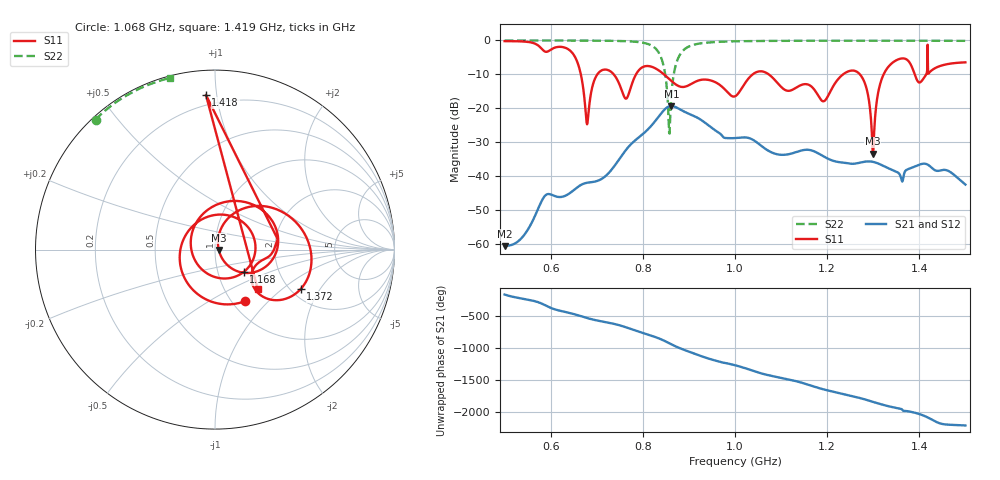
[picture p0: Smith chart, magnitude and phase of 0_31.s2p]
! TOUCHSTONE file generated by CST MICROWAVE STUDIO
! Date and time: Sat Oct 24 10:47:02 2020
! Project name: Scenario_1_Planar_Body_Tissue_Center.cst
! Parameters = {hfat=3; hmuscle=50; hskin=1.5; hgap=25; Wtissue=700; Ltissue=700; L_HA=400; MT=2.54; Rad_Dielectric=30; Rad_Lower=7.3; Rad_Upper=30; a_HA=580; a_WG=246; b_HA=500; b_WG=121; c_HA=0; c_WG=187; d_feed=85; dx1=692.6; h_feed=15; h_lower=18; h_upper=40}
! Header version: 2018
! Port assignment regex: !\s*Touchstone port\s*([0-9]+)\s*=\s*(CST MWS port|CST DS port)\s*([0-9]+|Zmin|Zmax)\s*\(\"(.*)\"\)(\s*mode\s*([0-9]+))?.*
! Touchstone port assignment:
! Touchstone port 1 = CST MWS port 1 ("")
! Touchstone port 2 = CST MWS port 2 ("")
# GHz S DB R 50
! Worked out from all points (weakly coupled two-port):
!   1003 points, 500 MHz to 1.5 GHz, reference 50 ohm
!   highest |S21| = -19.35 dB at 862 MHz (marker M1); lowest = -60.7 dB at 500 MHz (marker M2)
!   lowest |S11| = -33.4 dB at 1.299 GHz (marker M3), VSWR 1.04, Z = 52.2 - j0.254 ohm
!   |S11| at or under -10 dB: 845.6 MHz to 1.039 GHz (192.9 MHz wide, 20.5 % of centre); 1.073 GHz to 1.235 GHz (161.7 MHz wide, 14 % of centre); 1.271 GHz to 1.323 GHz (51.66 MHz wide, 3.98 % of centre)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
!   |S22| runs from -27.5 to 0.0 dB; largest |S21 - S12| = 4.7e-05
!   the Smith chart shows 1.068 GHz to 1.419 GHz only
!   S11 on the Smith chart (normalised r, x): 1.068 GHz: 1.14, -0.74; 1.168 GHz: 1.33, -0.35; 1.372 GHz: 2.26, -1.37; 1.418 GHz: 0.14, +0.93; 1.419 GHz: 1.42, -0.69
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0.5  -0.21 -121.5  -60.73 -169.6  -60.73 -169.6  -0.01 151.1
0.622  -1.89 173.2  -46.21 -65.3  -46.21 -65.3  -0.03 142.4
0.667  -11.07 96.3  -42.55 -149.6  -42.55 -149.6  -0.04 138.4
0.679  -24.77 146.0  -42.01 -175.6  -42.01 -175.6  -0.05 137.2
0.709  -8.96 161.6  -40.99 134.4  -40.99 134.4  -0.08 133.7
0.777  -12.58 -119.9  -30.27 6.8  -30.27 6.8  -0.32 121.1
0.834  -8.80 58.8  -22.55 -130.8  -22.55 -130.8  -3.47 83.2
0.862  -11.97 -29.4  -19.35 134.4  -19.35 134.4  -15.98 -132.3
0.889  -13.72 -138.6  -20.97 49.8  -20.97 49.8  -2.78 177.3
0.95  -11.92 5.4  -25.87 -103.6  -25.87 -103.6  -0.54 148.8
1  -16.49 177.8  -28.82 168.8  -28.82 168.8  -0.25 140.1
1.068  -9.57 -60.0  -32.19 21.0  -32.19 21.0  -0.15 132.6
1.128  -14.33 91.5  -33.17 -71.6  -33.17 -71.6  -0.11 127.3
1.167  -13.73 -34.4  -32.49 -154.1  -32.50 -154.1  -0.09 124.2
1.168  -13.87 -38.0  -32.54 -156.4  -32.54 -156.4  -0.09 124.1
1.266  -9.38 -3.4  -36.23 26.8  -36.23 26.8  -0.08 116.6
1.299  -33.40 -6.5  -35.83 -41.2  -35.83 -41.2  -0.08 114.1
1.334  -7.59 31.8  -37.80 -111.7  -37.80 -111.7  -0.09 111.5
1.372  -5.58 -24.6  -38.23 174.6  -38.22 174.7  -0.09 108.6
1.418  -1.27 93.4  -36.64 75.8  -36.64 75.8  -0.10 104.9
1.419  -9.82 -42.6  -36.72 72.4  -36.72 72.4  -0.10 104.8
1.5  -6.47 -44.2  -42.54 -49.8  -42.54 -49.8  -0.12 97.9
